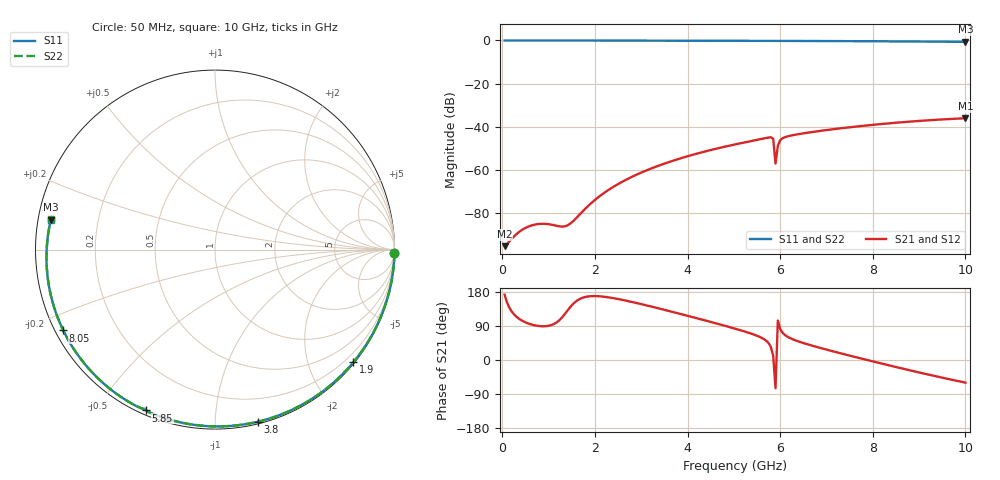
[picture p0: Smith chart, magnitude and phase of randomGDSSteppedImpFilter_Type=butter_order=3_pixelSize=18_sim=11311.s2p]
! freq	dB(S11)	phase(S11)	dB(S12)	phase(S12)
!  dB(S21)	phase(S21)	dB(S22)	phase(S22)
!S-par simulation data
#  GHz  S  DB  R 50
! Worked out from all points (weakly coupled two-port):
!   200 points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, 50 MHz to 10 GHz, reference 50 ohm
!   highest |S21| = -35.97 dB at 10 GHz (marker M1); lowest = -95.1 dB at 50 MHz (marker M2)
!   lowest |S11| = -0.6 dB at 10 GHz (marker M3), VSWR 27.44, Z = 1.84 + j4.52 ohm
!   |S11| at or under -10 dB: nowhere
!   |S22| runs from -0.6 to 0.0 dB; largest |S21 - S12| = 0
!   S11 on the Smith chart (normalised r, x): 50 MHz: open; 1.9 GHz: 0.03, -2.81; 3.8 GHz: 0.02, -1.28; 5.85 GHz: 0.02, -0.66; 8.05 GHz: 0.02, -0.25; 10 GHz: 0.04, +0.09
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0.05  -0.00 -1.0  -95.11 172.4  -95.11 172.4  -0.00 -1.0
0.8  -0.02 -16.7  -84.83 89.6  -84.83 89.6  -0.02 -16.7
1.65  -0.04 -34.1  -80.93 159.5  -80.93 159.5  -0.04 -34.1
1.7  -0.04 -35.1  -79.81 162.6  -79.81 162.6  -0.04 -35.1
1.75  -0.05 -36.1  -78.70 164.9  -78.70 164.9  -0.05 -36.1
1.9  -0.05 -39.1  -75.60 168.3  -75.60 168.3  -0.05 -39.1
2.2  -0.06 -45.1  -70.47 166.9  -70.47 166.9  -0.06 -45.1
2.55  -0.07 -52.0  -65.80 159.7  -65.80 159.7  -0.07 -52.0
3.4  -0.09 -68.4  -57.70 135.5  -57.70 135.5  -0.09 -68.4
3.8  -0.10 -76.0  -54.83 123.1  -54.83 123.1  -0.10 -75.9
5.05  -0.15 -98.8  -47.96 81.9  -47.96 81.9  -0.15 -98.8
5.75  -0.19 -111.3  -44.88 44.6  -44.88 44.6  -0.19 -111.3
5.85  -0.22 -113.2  -45.45 10.8  -45.45 10.8  -0.22 -113.2
5.9  -0.26 -113.9  -56.91 -74.6  -56.91 -74.6  -0.26 -113.8
5.95  -0.23 -114.6  -48.83 104.2  -48.83 104.2  -0.23 -114.5
6  -0.22 -115.5  -46.13 82.0  -46.13 82.0  -0.22 -115.5
6.15  -0.22 -118.2  -44.41 62.0  -44.41 62.0  -0.22 -118.2
6.7  -0.25 -127.9  -42.30 37.5  -42.30 37.5  -0.25 -127.9
8.05  -0.37 -151.9  -38.91 -5.2  -38.91 -5.2  -0.37 -151.9
8.35  -0.41 -157.5  -38.32 -14.1  -38.32 -14.1  -0.41 -157.5
9.2  -0.51 -173.8  -36.91 -38.5  -36.91 -38.5  -0.51 -173.8
10  -0.63 169.6  -35.97 -59.6  -35.97 -59.6  -0.63 169.6
